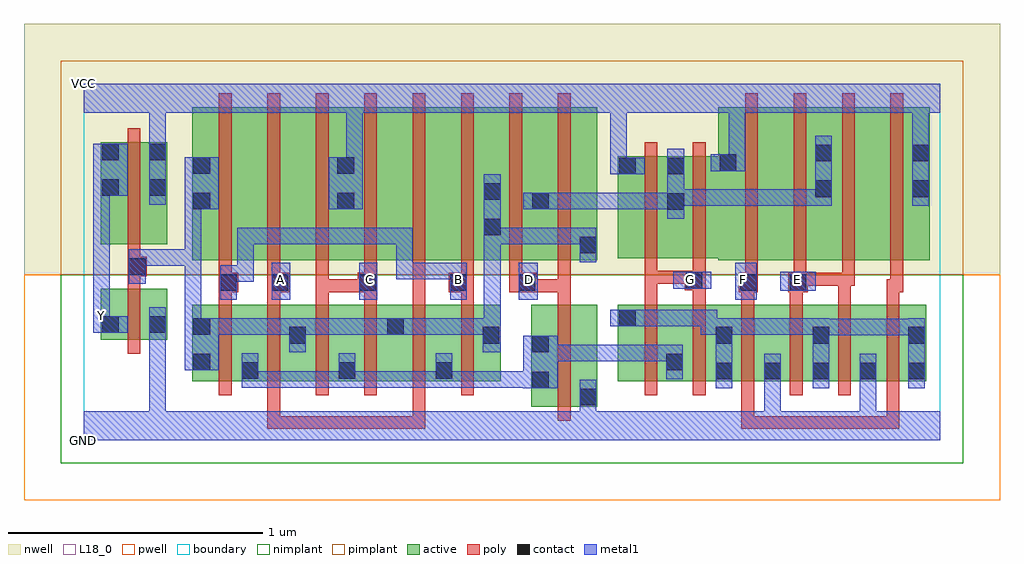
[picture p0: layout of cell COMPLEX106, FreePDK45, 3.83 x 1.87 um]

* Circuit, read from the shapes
.subckt COMPLEX106 A B C D E F G GND VCC Y
M1 GND n1 Y VSUBS nfet w=0.2u l=0.05u
M2 n2 B n1 VSUBS nfet w=0.3u l=0.05u m=2
M3 n1 A n2 VSUBS nfet w=0.3u l=0.05u m=2
M4 n2 C n1 VSUBS nfet w=0.3u l=0.05u m=2
M5 GND D n2 VSUBS nfet w=0.4u l=0.05u
M6 n2 G n3 VSUBS nfet w=0.3u l=0.05u m=2
M7 GND F n3 VSUBS nfet w=0.3u l=0.05u m=2
M8 n3 E GND VSUBS nfet w=0.3u l=0.05u m=2
M9 VCC n1 Y n4 pfet w=0.4u l=0.05u
M10 n5 B n1 n4 pfet w=0.6u l=0.05u
M11 n6 A n5 n4 pfet w=0.6u l=0.05u
M12 VCC C n6 n4 pfet w=0.6u l=0.05u
M13 n7 C VCC n4 pfet w=0.6u l=0.05u
M14 n8 A n7 n4 pfet w=0.6u l=0.05u
M15 n1 B n8 n4 pfet w=0.6u l=0.05u
M16 n9 D n1 n4 pfet w=0.6u l=0.05u m=2
M17 n9 G VCC n4 pfet w=0.4u l=0.05u m=2
M18 n10 F VCC n4 pfet w=0.6u l=0.05u
M19 n9 E n10 n4 pfet w=0.6u l=0.05u
M20 n11 E n9 n4 pfet w=0.6u l=0.05u
M21 VCC F n11 n4 pfet w=0.6u l=0.05u
.ends

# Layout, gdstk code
import gdstk
lib = gdstk.Library(unit=1e-6, precision=1e-09)
def R(c, l, rs):  # rectangles x0, y0, x1, y1
    for r in rs: c.add(gdstk.rectangle(r[:2], r[2:], *l))
def A(c, l, x, y, w, h, nx, ny, dx, dy):  # array of equal rectangles
    R(c, l, [(x+i*dx, y+j*dy, x+i*dx+w, y+j*dy+h) for i in range(nx) for j in range(ny)])
active = (1, 0)
pwell = (2, 0)
nwell = (3, 0)
nimplant = (4, 0)
pimplant = (5, 0)
poly = (9, 0)
contact = (10, 0)
metal1 = (11, 0)
L18_0 = (18, 0)
boundary = (235, 0)

complex106 = lib.new_cell('COMPLEX106')
R(complex106, active, [(1.755,0.132,2.015,0.532), (1.94,0.132,2.015,0.335), (1.755,0.195,1.83,0.532), (0.425,0.232,0.5,0.532), (0.425,0.232,0.69,0.532), (0.615,0.232,0.875,0.532), (0.615,0.232,0.69,0.392), (0.8,0.232,1.07,0.532), (0.995,0.232,1.26,0.532), (0.995,0.232,1.07,0.517), (1.185,0.232,1.45,0.532), (1.375,0.232,1.635,0.532), (1.375,0.232,1.45,0.405), (2.095,0.232,2.355,0.532), (2.28,0.232,2.55,0.532), (2.28,0.232,2.355,0.392), (2.475,0.232,2.55,0.532), (2.475,0.232,2.74,0.532), (2.665,0.232,2.93,0.532), (2.665,0.232,2.74,0.397), (2.855,0.232,3.115,0.532), (2.855,0.232,2.93,0.517), (3.04,0.232,3.305,0.532), (3.04,0.232,3.115,0.437), (3.23,0.232,3.305,0.532), (0.8,0.295,0.875,0.45), (1.185,0.295,1.26,0.485), (1.56,0.295,1.635,0.532), (2.095,0.295,2.17,0.532), (0.067,0.395,0.142,0.595), (0.067,0.395,0.327,0.595), (0.252,0.395,0.327,0.595), (0.425,0.707,0.65,1.307), (0.425,0.707,0.53,1.2), (0.65,0.707,0.84,1.307), (0.84,0.707,1.065,1.307), (0.99,0.707,1.065,1.305), (0.99,0.707,1.22,1.307), (1.22,0.707,1.41,1.307), (1.41,0.707,1.64,1.307), (1.565,0.707,1.64,1.2), (1.565,0.707,1.83,1.307), (1.755,0.707,1.83,1.2), (1.755,0.707,2.015,1.307), (1.94,0.707,2.015,1.047), (2.49,0.707,2.715,1.307), (2.715,0.707,2.94,1.307), (2.865,0.707,3.095,1.307), (2.865,0.707,2.94,1.2), (3.095,0.707,3.32,1.307), (3.245,0.707,3.32,1.305), (2.095,0.715,2.36,1.115), (2.285,0.715,2.565,1.115), (0.067,0.77,0.327,1.17), (0.067,0.77,0.142,1.17), (0.252,0.77,0.327,1.17), (2.285,0.9,2.36,1.115), (2.095,0.907,2.17,1.115), (2.49,0.907,2.565,1.307)])
R(complex106, pwell, [(-0.235,-0.235,3.595,0.65)])
R(complex106, nwell, [(-0.235,0.65,3.595,1.635)])
R(complex106, nimplant, [(-0.09,-0.09,3.45,0.65)])
R(complex106, pimplant, [(-0.09,0.65,3.45,1.49)])
A(complex106, poly, 0.53, 0.177, 0.05, 0.41, 6, 1, 0.19, 0)
A(complex106, poly, 2.2, 0.177, 0.05, 0.41, 6, 1, 0.19, 0)
A(complex106, poly, 0.53, 0.537, 0.05, 0.095, 4, 1, 0.19, 0)
A(complex106, poly, 1.1, 0.607, 0.05, 0.095, 4, 1, 0.19, 0)
A(complex106, poly, 2.595, 0.607, 0.05, 0.095, 3, 1, 0.19, 0)
A(complex106, poly, 0.53, 0.652, 0.05, 0.71, 8, 1, 0.19, 0)
A(complex106, poly, 2.595, 0.652, 0.05, 0.71, 4, 1, 0.19, 0)
R(complex106, poly, [(0.72,0.045,0.77,0.227), (0.72,0.045,0.77,0.095), (0.72,0.045,0.77,0.095), (0.72,0.045,0.77,0.095), (0.72,0.045,0.992,0.095), (0.942,0.045,0.992,0.095), (0.942,0.045,0.992,0.095), (0.942,0.045,0.992,0.095), (0.942,0.045,1.125,0.095), (1.075,0.045,1.125,0.095), (1.075,0.045,1.34,0.095), (1.29,0.045,1.34,0.227), (1.29,0.045,1.34,0.095), (1.29,0.045,1.34,0.095), (1.29,0.045,1.34,0.095), (2.58,0.045,2.63,0.227), (2.58,0.045,2.63,0.095), (2.58,0.045,2.63,0.095), (2.58,0.045,2.63,0.095), (2.58,0.045,2.777,0.095), (2.727,0.045,2.777,0.095), (2.727,0.045,2.777,0.095), (2.727,0.045,2.777,0.095), (2.727,0.045,3.067,0.095), (3.017,0.045,3.067,0.095), (3.017,0.045,3.2,0.095), (3.15,0.045,3.2,0.227), (3.15,0.045,3.2,0.095), (3.15,0.045,3.2,0.095), (3.15,0.045,3.2,0.095), (1.86,0.077,1.91,0.587), (0.172,0.34,0.222,0.65), (1.29,0.537,1.34,0.657), (1.48,0.537,1.53,0.632), (1.86,0.537,1.91,0.632), (2.2,0.537,2.25,0.665), (2.39,0.537,2.44,0.64), (2.58,0.537,2.63,0.632), (2.77,0.537,2.82,0.632), (2.96,0.537,3.01,0.657), (3.15,0.537,3.2,0.632), (0.53,0.582,0.605,0.657), (0.72,0.582,0.807,0.657), (0.91,0.582,0.96,0.702), (0.91,0.582,0.96,0.632), (0.91,0.582,1.125,0.632), (1.075,0.582,1.125,0.632), (1.075,0.582,1.125,0.632), (1.075,0.582,1.15,0.657), (1.432,0.582,1.53,0.657), (1.67,0.582,1.777,0.657), (1.727,0.582,1.91,0.632), (1.86,0.582,1.91,0.702), (1.86,0.582,1.91,0.632), (1.86,0.582,1.91,0.632), (1.86,0.582,1.91,0.632), (2.57,0.582,2.645,0.657), (2.765,0.582,2.84,0.657), (3.15,0.582,3.215,0.632), (3.165,0.582,3.215,0.702), (2.357,0.59,2.44,0.665), (0.172,0.6,0.222,0.695), (0.53,0.607,0.58,0.702), (0.72,0.607,0.77,0.702), (1.29,0.607,1.34,0.657), (2.79,0.607,3.01,0.657), (2.96,0.607,3.025,0.657), (2.96,0.607,3.01,0.657), (2.96,0.607,3.01,0.657), (2.2,0.615,2.25,0.71), (2.2,0.615,2.25,0.665), (2.2,0.615,2.407,0.665), (2.357,0.615,2.407,0.665), (2.357,0.615,2.407,0.665), (2.39,0.615,2.44,0.71), (0.172,0.645,0.247,0.72), (2.2,0.66,2.25,1.17), (2.39,0.66,2.44,1.17), (0.172,0.67,0.222,0.765), (0.172,0.715,0.222,1.225)])
A(complex106, contact, 2.48, 0.24, 0.065, 0.065, 3, 1, 0.19, 0)
A(complex106, contact, 0.62, 0.242, 0.065, 0.065, 3, 1, 0.38, 0)
R(complex106, contact, [(1.945,0.137,2.01,0.202), (1.76,0.205,1.825,0.27), (3.045,0.24,3.11,0.305), (3.235,0.24,3.3,0.305), (0.43,0.275,0.495,0.34), (2.285,0.275,2.35,0.34), (1.76,0.345,1.825,0.41), (0.805,0.38,0.87,0.445), (1.565,0.38,1.63,0.445), (2.48,0.38,2.545,0.445), (2.86,0.38,2.925,0.445), (3.235,0.38,3.3,0.445), (0.43,0.415,0.495,0.48), (1.19,0.415,1.255,0.48), (0.072,0.422,0.137,0.487), (0.257,0.422,0.322,0.487), (2.1,0.447,2.165,0.512), (0.535,0.587,0.6,0.652), (0.737,0.587,0.802,0.652), (1.08,0.587,1.145,0.652), (1.437,0.587,1.502,0.652), (1.707,0.587,1.772,0.652), (2.575,0.587,2.64,0.652), (2.77,0.587,2.835,0.652), (2.362,0.595,2.427,0.66), (0.177,0.65,0.242,0.715), (1.945,0.735,2.01,0.8), (1.57,0.805,1.635,0.87), (2.29,0.905,2.355,0.97), (0.43,0.907,0.495,0.972), (0.995,0.907,1.06,0.972), (1.76,0.907,1.825,0.972), (1.57,0.945,1.635,1.01), (2.87,0.955,2.935,1.02), (3.25,0.955,3.315,1.02), (0.072,0.96,0.137,1.025), (0.257,0.96,0.322,1.025), (2.1,1.045,2.165,1.11), (2.29,1.045,2.355,1.11), (0.43,1.047,0.495,1.112), (0.995,1.047,1.06,1.112), (2.495,1.057,2.56,1.122), (2.87,1.095,2.935,1.16), (3.25,1.095,3.315,1.16), (0.072,1.1,0.137,1.165), (0.257,1.1,0.322,1.165)])
A(complex106, metal1, 0.62, 0.207, 0.065, 0.135, 3, 1, 0.38, 0)
R(complex106, metal1, [(0,0,3.36,0.115), (0.257,0.05,0.322,0.115), (0.257,0.05,0.322,0.115), (0.257,0.05,0.322,0.115), (0.257,0.05,0.322,0.115), (0.257,0.05,0.322,0.452), (1.945,0.05,2.01,0.167), (2.67,0.05,2.735,0.27), (3.045,0.05,3.11,0.27), (1.945,0.102,2.01,0.237), (1.725,0.205,1.86,0.41), (2.48,0.205,2.545,0.48), (2.67,0.205,2.735,0.27), (2.67,0.205,2.735,0.27), (2.67,0.205,2.735,0.34), (2.86,0.205,2.925,0.48), (3.045,0.205,3.11,0.27), (3.045,0.205,3.11,0.27), (3.045,0.205,3.11,0.34), (3.235,0.205,3.3,0.48), (0.62,0.207,0.822,0.272), (0.757,0.207,0.822,0.272), (0.757,0.207,0.822,0.272), (0.757,0.207,0.822,0.272), (0.757,0.207,1.007,0.272), (0.942,0.207,1.007,0.272), (0.942,0.207,1.065,0.272), (1,0.207,1.152,0.272), (1.087,0.207,1.152,0.272), (1.087,0.207,1.307,0.272), (1.242,0.207,1.307,0.272), (1.242,0.207,1.307,0.272), (1.242,0.207,1.307,0.272), (1.242,0.207,1.445,0.272), (1.38,0.207,1.445,0.272), (1.38,0.207,1.445,0.272), (1.38,0.207,1.64,0.272), (1.575,0.207,1.64,0.272), (1.575,0.207,1.64,0.272), (1.575,0.207,1.64,0.272), (1.575,0.207,1.79,0.272), (2.285,0.24,2.35,0.375), (0.395,0.275,0.53,0.48), (1.795,0.31,1.86,0.375), (1.795,0.31,1.86,0.375), (1.795,0.31,2.062,0.375), (1.997,0.31,2.062,0.375), (1.997,0.31,2.212,0.375), (2.147,0.31,2.212,0.375), (2.147,0.31,2.212,0.375), (2.147,0.31,2.212,0.375), (2.147,0.31,2.35,0.375), (0.805,0.345,0.87,0.48), (1.565,0.345,1.635,0.48), (0.257,0.387,0.322,0.522), (2.86,0.412,2.925,0.477), (2.86,0.412,2.925,0.477), (2.86,0.412,3.162,0.477), (3.097,0.412,3.162,0.477), (3.097,0.412,3.3,0.477), (3.235,0.412,3.3,0.477), (3.235,0.412,3.3,0.477), (0.395,0.415,0.46,0.75), (0.465,0.415,0.53,0.48), (0.465,0.415,0.53,0.48), (0.465,0.415,0.685,0.48), (0.62,0.415,0.685,0.48), (0.62,0.415,0.87,0.48), (0.805,0.415,0.87,0.48), (0.805,0.415,0.87,0.48), (0.805,0.415,1.007,0.48), (0.942,0.415,1.007,0.48), (0.942,0.415,1.007,0.48), (0.942,0.415,1.007,0.48), (0.942,0.415,1.145,0.48), (1.08,0.415,1.145,0.48), (1.08,0.415,1.22,0.48), (1.155,0.415,1.29,0.48), (1.225,0.415,1.29,0.48), (1.225,0.415,1.29,0.48), (1.225,0.415,1.445,0.48), (1.38,0.415,1.445,0.48), (1.38,0.415,1.445,0.48), (1.38,0.415,1.445,0.48), (1.38,0.415,1.63,0.48), (1.57,0.415,1.635,0.48), (1.57,0.415,1.635,0.48), (1.57,0.415,1.635,0.835), (2.42,0.415,2.545,0.48), (2.42,0.415,2.485,0.512), (2.48,0.415,2.622,0.48), (2.557,0.415,2.622,0.48), (2.557,0.415,2.787,0.48), (2.722,0.415,2.787,0.48), (2.722,0.415,2.787,0.48), (2.722,0.415,2.787,0.48), (2.722,0.415,2.925,0.48), (0.037,0.422,0.102,0.487), (0.037,0.422,0.102,0.557), (0.037,0.422,0.172,0.487), (2.065,0.447,2.2,0.512), (2.135,0.447,2.2,0.512), (2.135,0.447,2.2,0.512), (2.135,0.447,2.387,0.512), (2.322,0.447,2.387,0.512), (2.322,0.447,2.485,0.512), (0.037,0.492,0.102,1.025), (0.535,0.552,0.6,0.687), (0.737,0.552,0.81,0.697), (1.08,0.552,1.152,0.697), (1.437,0.552,1.502,0.697), (1.707,0.552,1.782,0.697), (2.557,0.552,2.64,0.697), (2.732,0.587,2.872,0.662), (2.312,0.595,2.462,0.662), (0.177,0.615,0.242,0.75), (0.535,0.622,0.667,0.687), (0.602,0.622,0.667,0.687), (0.602,0.622,0.667,0.835), (1.225,0.632,1.29,0.697), (1.225,0.632,1.29,0.697), (1.225,0.632,1.29,0.697), (1.225,0.632,1.492,0.697), (1.225,0.632,1.29,0.835), (1.427,0.632,1.492,0.697), (1.427,0.632,1.502,0.697), (0.177,0.685,0.242,0.75), (0.177,0.685,0.242,0.75), (0.177,0.685,0.46,0.75), (0.395,0.685,0.46,0.75), (0.395,0.685,0.46,0.972), (1.945,0.7,2.01,0.835), (0.602,0.77,0.667,0.835), (0.602,0.77,0.822,0.835), (0.757,0.77,0.822,0.835), (0.757,0.77,0.822,0.835), (0.757,0.77,0.822,0.835), (0.757,0.77,1.007,0.835), (0.942,0.77,1.007,0.835), (0.942,0.77,1.007,0.835), (0.942,0.77,1.007,0.835), (0.942,0.77,1.145,0.835), (1.08,0.77,1.145,0.835), (1.08,0.77,1.29,0.835), (1.225,0.77,1.29,0.835), (1.57,0.77,1.635,1.045), (1.57,0.77,1.64,0.835), (1.575,0.77,1.64,0.835), (1.575,0.77,1.872,0.835), (1.807,0.77,1.872,0.835), (1.807,0.77,1.872,0.835), (1.807,0.77,1.872,0.835), (1.807,0.77,2.01,0.835), (2.29,0.87,2.355,1.145), (0.395,0.907,0.53,1.112), (0.96,0.907,1.095,1.112), (1.725,0.907,1.86,0.972), (1.795,0.907,1.86,0.972), (1.795,0.907,1.86,0.972), (1.795,0.907,2.062,0.972), (1.997,0.907,2.062,0.972), (1.997,0.907,2.212,0.972), (2.147,0.907,2.212,0.972), (2.147,0.907,2.212,0.972), (2.147,0.907,2.212,0.972), (2.147,0.907,2.212,0.972), (2.147,0.907,2.212,0.972), (2.147,0.907,2.355,0.972), (2.29,0.92,2.355,0.985), (2.29,0.92,2.355,0.985), (2.29,0.92,2.597,0.985), (2.532,0.92,2.597,0.985), (2.532,0.92,2.622,0.985), (2.557,0.92,2.622,0.985), (2.557,0.92,2.76,0.985), (2.695,0.92,2.76,0.985), (2.695,0.92,2.76,0.985), (2.695,0.92,2.76,0.985), (2.695,0.92,2.935,0.985), (2.87,0.92,2.935,1.195), (3.25,0.92,3.315,1.195), (0.257,0.925,0.322,1.2), (0.037,0.96,0.172,1.165), (2.065,1.045,2.13,1.11), (2.065,1.045,2.13,1.11), (2.065,1.045,2.2,1.11), (2.065,1.045,2.13,1.35), (1.03,1.047,1.095,1.35), (2.46,1.057,2.595,1.122), (2.53,1.057,2.595,1.35), (3.25,1.13,3.315,1.35), (0.257,1.135,0.322,1.35), (0,1.285,3.36,1.4), (0.257,1.285,0.322,1.35), (0.257,1.285,0.322,1.35)])
A(complex106, L18_0, 0.737, 0.597, 0.065, 0.065, 3, 1, 0.35, 0)
A(complex106, L18_0, 2.347, 0.597, 0.065, 0.065, 3, 1, 0.21, 0)
R(complex106, L18_0, [(0,0,3.36,0.115), (0.257,0.05,0.322,0.115), (0.257,0.05,0.322,0.115), (0.257,0.05,0.322,0.115), (0.257,0.05,0.322,0.115), (0.257,0.05,0.322,0.452), (1.945,0.05,2.01,0.167), (2.67,0.05,2.735,0.27), (3.045,0.05,3.11,0.27), (1.945,0.102,2.01,0.237), (2.67,0.205,2.735,0.34), (2.67,0.205,2.735,0.27), (2.67,0.205,2.735,0.27), (3.045,0.205,3.11,0.34), (3.045,0.205,3.11,0.27), (3.045,0.205,3.11,0.27), (0.257,0.387,0.322,0.522), (0.037,0.422,0.172,0.487), (0.037,0.422,0.102,0.557), (0.037,0.422,0.102,0.487), (0.037,0.457,0.102,0.522), (0.037,0.492,0.102,1.025), (0.535,0.552,0.6,0.687), (0.737,0.552,0.81,0.697), (1.08,0.552,1.152,0.697), (1.437,0.552,1.502,0.697), (1.707,0.552,1.782,0.697), (2.557,0.552,2.64,0.697), (2.732,0.587,2.872,0.662), (2.312,0.595,2.462,0.662), (1.717,0.597,1.782,0.662), (0.535,0.622,0.667,0.687), (0.602,0.622,0.667,0.687), (0.602,0.622,0.667,0.835), (1.225,0.632,1.29,0.697), (1.225,0.632,1.29,0.697), (1.225,0.632,1.29,0.697), (1.225,0.632,1.29,0.835), (1.225,0.632,1.492,0.697), (1.427,0.632,1.492,0.697), (1.427,0.632,1.502,0.697), (0.602,0.77,0.667,0.835), (0.602,0.77,0.822,0.835), (0.757,0.77,0.822,0.835), (0.757,0.77,0.822,0.835), (0.757,0.77,0.822,0.835), (0.757,0.77,1.007,0.835), (0.942,0.77,1.007,0.835), (0.942,0.77,1.007,0.835), (0.942,0.77,1.007,0.835), (0.942,0.77,1.145,0.835), (1.08,0.77,1.145,0.835), (1.08,0.77,1.29,0.835), (1.225,0.77,1.29,0.835), (0.96,0.907,1.095,1.112), (3.25,0.92,3.315,1.195), (0.257,0.925,0.322,1.2), (0.037,0.96,0.172,1.165), (2.065,1.045,2.2,1.11), (2.065,1.045,2.13,1.11), (2.065,1.045,2.13,1.11), (2.065,1.045,2.13,1.35), (1.03,1.047,1.095,1.35), (2.46,1.057,2.595,1.122), (2.53,1.057,2.595,1.35), (3.25,1.13,3.315,1.35), (0.257,1.135,0.322,1.35), (0,1.285,3.36,1.4), (0.257,1.285,0.322,1.35), (0.257,1.285,0.322,1.35)])
R(complex106, boundary, [(0,0,3.36,1.4)])
complex106.add(gdstk.Label('A', (0.77,0.63), layer=11, texttype=0))
complex106.add(gdstk.Label('B', (1.47,0.63), layer=11, texttype=0))
complex106.add(gdstk.Label('C', (1.12,0.63), layer=11, texttype=0))
complex106.add(gdstk.Label('D', (1.75,0.63), layer=11, texttype=0))
complex106.add(gdstk.Label('E', (2.8,0.63), layer=11, texttype=0))
complex106.add(gdstk.Label('F', (2.59,0.63), layer=11, texttype=0))
complex106.add(gdstk.Label('G', (2.38,0.63), layer=11, texttype=0))
complex106.add(gdstk.Label('Y', (0.07,0.49), layer=11, texttype=0))
complex106.add(gdstk.Label('VCC', (0,1.4), layer=11, texttype=0))
complex106.add(gdstk.Label('GND', (0,0), layer=11, texttype=0))

lib.write_gds('COMPLEX106.gds')
